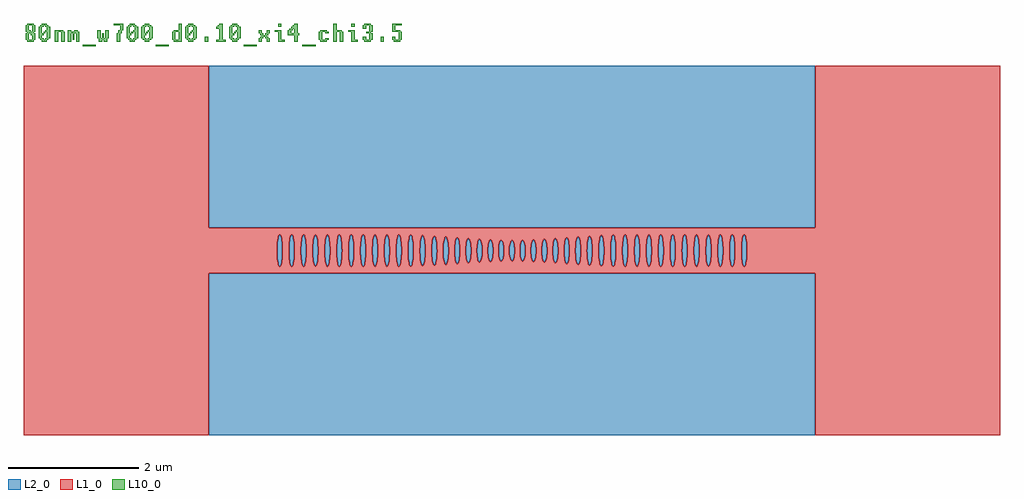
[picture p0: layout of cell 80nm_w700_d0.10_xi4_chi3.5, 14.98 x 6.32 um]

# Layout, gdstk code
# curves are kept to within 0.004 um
import gdstk
lib = gdstk.Library(unit=1e-6, precision=1e-09)
def R(c, l, rs):  # rectangles x0, y0, x1, y1
    for r in rs: c.add(gdstk.rectangle(r[:2], r[2:], *l))
def A(c, l, x, y, w, h, nx, ny, dx, dy):  # array of equal rectangles
    R(c, l, [(x+i*dx, y+j*dy, x+i*dx+w, y+j*dy+h) for i in range(nx) for j in range(ny)])
def P(c, l, *ps):  # polygons
    for p in ps: c.add(gdstk.Polygon(p, *l))
L1_0 = (1, 0)
L2_0 = (2, 0)
L10_0 = (10, 0)

c_80nm_w700_d0_10_xi4_chi3 = lib.new_cell('80nm_w700_d0.10_xi4_chi3.5')
P(c_80nm_w700_d0_10_xi4_chi3, L1_0, [(-4.656,-2.835),(-4.656,-0.35),(-2.795,-0.35),(-2.795,-0.084),(-2.813,-0.212),(-2.826,-0.241),(-2.841,-0.241),(-2.854,-0.212),(-2.865,-0.157),(-2.875,0),(-2.865,0.157),(-2.854,0.212),(-2.841,0.241),(-2.826,0.241),(-2.813,0.212),(-2.795,0.084),(-2.795,0.35),(-4.656,0.35),(-4.656,2.835),(-7.491,2.835),(-7.491,0),(-3.606,0),(-3.591,0.188),(-3.579,0.23),(-3.565,0.245),(-3.551,0.23),(-3.538,0.188),(-3.523,0),(-3.423,0),(-3.408,0.188),(-3.396,0.23),(-3.382,0.245),(-3.361,0.212),(-3.35,0.157),(-3.341,-0.043),(-3.24,-0.043),(-3.231,0.157),(-3.22,0.212),(-3.199,0.245),(-3.178,0.212),(-3.167,0.157),(-3.158,-0.043),(-3.057,-0.043),(-3.055,0.084),(-3.043,0.188),(-3.023,0.241),(-3.016,0.245),(-3.002,0.23),(-2.981,0.122),(-2.976,-0.043),(-2.99,-0.188),(-3.002,-0.23),(-3.016,-0.245),(-3.03,-0.23),(-3.043,-0.188),(-3.057,-0.043),(-3.158,-0.043),(-3.173,-0.188),(-3.185,-0.23),(-3.199,-0.245),(-3.213,-0.23),(-3.225,-0.188),(-3.24,-0.043),(-3.341,-0.043),(-3.355,-0.188),(-3.375,-0.241),(-3.389,-0.241),(-3.402,-0.212),(-3.413,-0.157),(-3.423,0),(-3.523,0),(-3.538,-0.188),(-3.551,-0.23),(-3.565,-0.245),(-3.579,-0.23),(-3.591,-0.188),(-3.606,0),(-7.491,0),(-7.491,-2.835)],
  [(-1.958,0.084),(-1.946,0.188),(-1.933,0.23),(-1.919,0.245),(-1.905,0.23),(-1.893,0.188),(-1.881,0.084),(-1.881,0.35),(-2.795,0.35),(-2.792,0),(-2.692,0),(-2.677,0.188),(-2.665,0.23),(-2.651,0.245),(-2.637,0.23),(-2.624,0.188),(-2.609,0),(-2.509,0),(-2.494,0.188),(-2.482,0.23),(-2.468,0.245),(-2.461,0.241),(-2.447,0.212),(-2.436,0.157),(-2.427,-0.043),(-2.326,-0.043),(-2.317,0.157),(-2.306,0.212),(-2.285,0.245),(-2.264,0.212),(-2.253,0.157),(-2.244,-0.043),(-2.143,-0.043),(-2.134,0.157),(-2.123,0.212),(-2.102,0.245),(-2.088,0.23),(-2.076,0.188),(-2.061,0),(-2.076,-0.188),(-2.088,-0.23),(-2.102,-0.245),(-2.116,-0.23),(-2.129,-0.188),(-2.143,-0.043),(-2.244,-0.043),(-2.259,-0.188),(-2.271,-0.23),(-2.285,-0.245),(-2.299,-0.23),(-2.311,-0.188),(-2.326,-0.043),(-2.427,-0.043),(-2.441,-0.188),(-2.461,-0.241),(-2.475,-0.241),(-2.488,-0.212),(-2.499,-0.157),(-2.509,0),(-2.609,0),(-2.624,-0.188),(-2.637,-0.23),(-2.651,-0.245),(-2.665,-0.23),(-2.677,-0.188),(-2.692,0),(-2.792,0),(-2.795,-0.35),(-1.881,-0.35),(-1.881,-0.084),(-1.893,-0.188),(-1.905,-0.23),(-1.919,-0.245),(-1.933,-0.23),(-1.946,-0.188),(-1.955,-0.123),(-1.961,0)],
  [(-1.881,-0.084),(-1.881,-0.35),(-0.977,-0.35),(-0.977,-0.079),(-0.991,-0.174),(-1.005,-0.208),(-1.021,-0.211),(-1.036,-0.185),(-1.048,-0.132),(-1.056,-0.02),(-1.048,0.132),(-1.029,0.202),(-1.013,0.213),(-0.998,0.194),(-0.985,0.147),(-0.977,0.079),(-0.977,0.35),(-1.881,0.35),(-1.878,0),(-1.778,0),(-1.763,0.188),(-1.751,0.23),(-1.737,0.245),(-1.729,0.241),(-1.716,0.212),(-1.705,0.157),(-1.696,-0.042),(-1.595,-0.042),(-1.586,0.156),(-1.575,0.21),(-1.561,0.239),(-1.547,0.239),(-1.54,0.228),(-1.528,0.186),(-1.515,0.083),(-1.513,-0.021),(-1.414,-0.021),(-1.406,0.138),(-1.389,0.217),(-1.374,0.235),(-1.36,0.224),(-1.341,0.155),(-1.331,0),(-1.234,0),(-1.223,0.152),(-1.211,0.202),(-1.204,0.217),(-1.189,0.225),(-1.174,0.202),(-1.162,0.152),(-1.151,0),(-1.162,-0.152),(-1.174,-0.202),(-1.189,-0.225),(-1.204,-0.217),(-1.211,-0.202),(-1.223,-0.152),(-1.234,0),(-1.331,0),(-1.341,-0.155),(-1.36,-0.224),(-1.374,-0.235),(-1.389,-0.217),(-1.401,-0.17),(-1.414,-0.021),(-1.513,-0.021),(-1.518,-0.121),(-1.528,-0.186),(-1.54,-0.228),(-1.554,-0.242),(-1.568,-0.228),(-1.581,-0.186),(-1.595,-0.042),(-1.696,-0.042),(-1.71,-0.188),(-1.723,-0.23),(-1.737,-0.245),(-1.751,-0.23),(-1.763,-0.188),(-1.778,0),(-1.878,0)],
  [(-0.039,0.051),(-0.023,0.132),(-0.007,0.158),(0.002,0.16),(0.002,0.35),(-0.977,0.35),(-0.974,-0.039),(-0.881,-0.039),(-0.881,0.039),(-0.869,0.142),(-0.856,0.186),(-0.84,0.201),(-0.824,0.186),(-0.811,0.142),(-0.799,0.039),(-0.799,-0.019),(-0.709,-0.019),(-0.699,0.123),(-0.686,0.169),(-0.67,0.188),(-0.653,0.177),(-0.639,0.137),(-0.626,-0.018),(-0.539,-0.018),(-0.529,0.115),(-0.516,0.159),(-0.5,0.177),(-0.484,0.166),(-0.47,0.128),(-0.46,0.07),(-0.457,0),(-0.372,0),(-0.364,0.099),(-0.351,0.146),(-0.335,0.167),(-0.318,0.16),(-0.303,0.125),(-0.293,0.068),(-0.29,-0.018),(-0.206,-0.018),(-0.195,0.112),(-0.18,0.151),(-0.163,0.162),(-0.154,0.156),(-0.138,0.124),(-0.124,0),(-0.132,-0.098),(-0.154,-0.156),(-0.171,-0.16),(-0.188,-0.134),(-0.2,-0.084),(-0.206,-0.018),(-0.29,-0.018),(-0.303,-0.125),(-0.326,-0.167),(-0.343,-0.16),(-0.358,-0.125),(-0.372,0),(-0.457,0),(-0.46,-0.07),(-0.47,-0.128),(-0.484,-0.166),(-0.5,-0.177),(-0.508,-0.172),(-0.523,-0.14),(-0.539,-0.018),(-0.626,-0.018),(-0.639,-0.137),(-0.653,-0.177),(-0.67,-0.188),(-0.686,-0.169),(-0.693,-0.149),(-0.709,-0.019),(-0.799,-0.019),(-0.811,-0.142),(-0.824,-0.186),(-0.84,-0.201),(-0.856,-0.186),(-0.863,-0.167),(-0.881,-0.039),(-0.974,-0.039),(-0.977,-0.35),(0.002,-0.35),(0.002,-0.16),(-0.015,-0.149),(-0.03,-0.11),(-0.041,-0.017)],
  [(0.037,-0.067),(0.027,-0.122),(0.011,-0.154),(0.002,-0.16),(0.002,-0.35),(0.975,-0.35),(0.975,0.35),(0.002,0.35),(0.002,0.16),(0.019,0.141),(0.033,0.097),(0.04,-0.018),(0.124,-0.018),(0.135,0.112),(0.15,0.151),(0.167,0.162),(0.176,0.156),(0.191,0.124),(0.202,0.068),(0.206,0),(0.289,0),(0.297,0.099),(0.31,0.146),(0.326,0.167),(0.343,0.16),(0.358,0.125),(0.368,0.068),(0.371,-0.018),(0.457,-0.018),(0.467,0.115),(0.48,0.159),(0.496,0.177),(0.504,0.175),(0.52,0.15),(0.532,0.101),(0.538,-0.019),(0.627,-0.019),(0.636,0.123),(0.649,0.169),(0.666,0.188),(0.682,0.177),(0.69,0.16),(0.702,0.108),(0.708,-0.039),(0.799,-0.039),(0.799,0.039),(0.811,0.142),(0.824,0.186),(0.84,0.201),(0.848,0.197),(0.863,0.167),(0.874,0.112),(0.881,-0.039),(0.863,-0.167),(0.856,-0.186),(0.84,-0.201),(0.824,-0.186),(0.817,-0.167),(0.799,-0.039),(0.708,-0.039),(0.702,-0.108),(0.69,-0.16),(0.682,-0.177),(0.666,-0.188),(0.657,-0.182),(0.642,-0.149),(0.627,-0.019),(0.538,-0.019),(0.526,-0.128),(0.512,-0.166),(0.496,-0.177),(0.488,-0.172),(0.473,-0.14),(0.457,-0.018),(0.371,-0.018),(0.358,-0.125),(0.335,-0.167),(0.318,-0.16),(0.303,-0.125),(0.289,0),(0.206,0),(0.202,-0.068),(0.191,-0.124),(0.176,-0.156),(0.167,-0.162),(0.15,-0.151),(0.135,-0.112),(0.124,-0.018),(0.04,-0.018)],
  [(1.881,0.084),(1.881,0.35),(0.975,0.35),(0.975,0.06),(0.994,0.185),(1.009,0.211),(1.025,0.208),(1.039,0.174),(1.05,0.115),(1.056,0),(1.151,0),(1.162,0.152),(1.174,0.202),(1.181,0.217),(1.196,0.225),(1.211,0.202),(1.228,0.119),(1.233,-0.021),(1.331,-0.021),(1.339,0.138),(1.356,0.217),(1.371,0.235),(1.385,0.224),(1.404,0.155),(1.414,0),(1.513,0),(1.518,0.121),(1.528,0.186),(1.54,0.228),(1.554,0.242),(1.568,0.228),(1.581,0.186),(1.593,0.083),(1.595,0),(1.695,0),(1.71,0.188),(1.723,0.23),(1.737,0.245),(1.751,0.23),(1.763,0.188),(1.778,0),(1.763,-0.188),(1.751,-0.23),(1.737,-0.245),(1.723,-0.23),(1.71,-0.188),(1.695,0),(1.595,0),(1.593,-0.083),(1.581,-0.186),(1.568,-0.228),(1.554,-0.242),(1.54,-0.228),(1.528,-0.186),(1.518,-0.121),(1.513,0),(1.414,0),(1.404,-0.155),(1.385,-0.224),(1.371,-0.235),(1.356,-0.217),(1.344,-0.17),(1.331,-0.021),(1.233,-0.021),(1.228,-0.119),(1.217,-0.18),(1.204,-0.217),(1.189,-0.225),(1.174,-0.202),(1.162,-0.152),(1.151,0),(1.056,0),(1.05,-0.115),(1.039,-0.174),(1.025,-0.208),(1.009,-0.211),(0.994,-0.185),(0.975,-0.06),(0.975,-0.35),(1.881,-0.35)],
  [(2.793,0.35),(1.881,0.35),(1.881,0.084),(1.899,0.212),(1.912,0.241),(1.927,0.241),(1.94,0.212),(1.951,0.157),(1.961,0),(2.061,0),(2.076,0.188),(2.088,0.23),(2.102,0.245),(2.123,0.212),(2.134,0.157),(2.143,-0.043),(2.244,-0.043),(2.253,0.157),(2.264,0.212),(2.285,0.245),(2.306,0.212),(2.317,0.157),(2.326,-0.043),(2.427,-0.043),(2.436,0.157),(2.447,0.212),(2.468,0.245),(2.482,0.23),(2.494,0.188),(2.509,0),(2.609,0),(2.624,0.188),(2.643,0.241),(2.658,0.241),(2.671,0.212),(2.682,0.157),(2.692,0),(2.677,-0.188),(2.665,-0.23),(2.651,-0.245),(2.637,-0.23),(2.624,-0.188),(2.609,0),(2.509,0),(2.494,-0.188),(2.482,-0.23),(2.468,-0.245),(2.454,-0.23),(2.441,-0.188),(2.427,-0.043),(2.326,-0.043),(2.311,-0.188),(2.299,-0.23),(2.285,-0.245),(2.271,-0.23),(2.259,-0.188),(2.244,-0.043),(2.143,-0.043),(2.129,-0.188),(2.116,-0.23),(2.102,-0.245),(2.088,-0.23),(2.076,-0.188),(2.061,0),(1.961,0),(1.951,-0.157),(1.94,-0.212),(1.927,-0.241),(1.912,-0.241),(1.899,-0.212),(1.881,-0.084),(1.881,-0.35),(2.793,-0.35)],
  [(2.798,0.123),(2.819,0.23),(2.833,0.245),(2.841,0.241),(2.854,0.212),(2.865,0.157),(2.875,0),(2.975,0),(2.99,0.188),(3.002,0.23),(3.016,0.245),(3.037,0.212),(3.048,0.157),(3.057,-0.043),(3.158,-0.043),(3.167,0.157),(3.178,0.212),(3.199,0.245),(3.22,0.212),(3.231,0.157),(3.24,-0.043),(3.341,-0.043),(3.35,0.157),(3.361,0.212),(3.375,0.241),(3.382,0.245),(3.396,0.23),(3.408,0.188),(3.423,0),(3.523,0),(3.538,0.188),(3.551,0.23),(3.565,0.245),(3.579,0.23),(3.591,0.188),(3.606,0),(3.591,-0.188),(3.579,-0.23),(3.565,-0.245),(3.551,-0.23),(3.538,-0.188),(3.523,0),(3.423,0),(3.408,-0.188),(3.396,-0.23),(3.382,-0.245),(3.368,-0.23),(3.355,-0.188),(3.341,-0.043),(3.24,-0.043),(3.225,-0.188),(3.213,-0.23),(3.199,-0.245),(3.185,-0.23),(3.173,-0.188),(3.158,-0.043),(3.057,-0.043),(3.043,-0.188),(3.03,-0.23),(3.016,-0.245),(3.002,-0.23),(2.99,-0.188),(2.975,0),(2.875,0),(2.865,-0.157),(2.854,-0.212),(2.841,-0.241),(2.826,-0.241),(2.807,-0.188),(2.793,-0.043),(2.793,-0.35),(4.656,-0.35),(4.656,-2.835),(7.491,-2.835),(7.491,2.835),(4.656,2.835),(4.656,0.35),(2.793,0.35),(2.793,0.043)])
R(c_80nm_w700_d0_10_xi4_chi3, L2_0, [(-4.656,-2.835,4.656,-0.35), (-4.656,0.35,4.656,2.835)])
P(c_80nm_w700_d0_10_xi4_chi3, L2_0, [(-3.526,0.084),(-3.538,0.188),(-3.557,0.241),(-3.565,0.245),(-3.579,0.23),(-3.596,0.157),(-3.606,0),(-3.6,-0.123),(-3.585,-0.212),(-3.579,-0.23),(-3.565,-0.245),(-3.557,-0.241),(-3.544,-0.212),(-3.533,-0.157),(-3.524,-0.043)],
  [(3.526,-0.084),(3.538,-0.188),(3.557,-0.241),(3.565,-0.245),(3.579,-0.23),(3.596,-0.157),(3.605,-0.043),(3.603,0.084),(3.591,0.188),(3.579,0.23),(3.565,0.245),(3.557,0.241),(3.544,0.212),(3.533,0.157),(3.524,0.043)],
  [(0.293,-0.068),(0.303,-0.125),(0.326,-0.167),(0.335,-0.167),(0.351,-0.146),(0.364,-0.099),(0.372,0),(0.368,0.068),(0.358,0.125),(0.335,0.167),(0.326,0.167),(0.31,0.146),(0.297,0.099),(0.289,0)],
  [(-3.42,-0.084),(-3.408,-0.188),(-3.389,-0.241),(-3.382,-0.245),(-3.368,-0.23),(-3.35,-0.157),(-3.341,-0.043),(-3.346,0.122),(-3.361,0.212),(-3.382,0.245),(-3.396,0.23),(-3.402,0.212),(-3.417,0.123),(-3.423,0)],
  [(-2.872,-0.084),(-2.86,-0.188),(-2.841,-0.241),(-2.833,-0.245),(-2.819,-0.23),(-2.802,-0.157),(-2.793,-0.043),(-2.795,0.084),(-2.807,0.188),(-2.819,0.23),(-2.833,0.245),(-2.841,0.241),(-2.854,0.212),(-2.865,0.157),(-2.874,0.043)],
  [(2.978,-0.084),(2.99,-0.188),(3.009,-0.241),(3.016,-0.245),(3.03,-0.23),(3.048,-0.157),(3.057,-0.043),(3.052,0.122),(3.037,0.212),(3.016,0.245),(3.002,0.23),(2.996,0.212),(2.981,0.123),(2.975,0)],
  [(2.872,0.084),(2.86,0.188),(2.841,0.241),(2.833,0.245),(2.819,0.23),(2.802,0.157),(2.792,0),(2.798,-0.123),(2.813,-0.212),(2.819,-0.23),(2.833,-0.245),(2.841,-0.241),(2.854,-0.212),(2.865,-0.157),(2.874,-0.043)],
  [(2.689,0.084),(2.677,0.188),(2.665,0.23),(2.651,0.245),(2.643,0.241),(2.63,0.212),(2.615,0.123),(2.609,0),(2.615,-0.123),(2.63,-0.212),(2.643,-0.241),(2.651,-0.245),(2.665,-0.23),(2.682,-0.157),(2.691,-0.043)],
  [(-2.689,-0.084),(-2.677,-0.188),(-2.658,-0.241),(-2.643,-0.241),(-2.637,-0.23),(-2.619,-0.157),(-2.609,0),(-2.615,0.122),(-2.63,0.212),(-2.643,0.241),(-2.651,0.245),(-2.665,0.23),(-2.671,0.212),(-2.686,0.123),(-2.692,0)],
  [(-2.506,-0.084),(-2.494,-0.188),(-2.475,-0.241),(-2.468,-0.245),(-2.454,-0.23),(-2.436,-0.157),(-2.427,-0.043),(-2.432,0.122),(-2.447,0.212),(-2.468,0.245),(-2.482,0.23),(-2.488,0.212),(-2.503,0.123),(-2.509,0)],
  [(2.064,-0.084),(2.076,-0.188),(2.095,-0.241),(2.102,-0.245),(2.116,-0.23),(2.134,-0.157),(2.143,-0.043),(2.138,0.122),(2.123,0.212),(2.102,0.245),(2.088,0.23),(2.082,0.212),(2.067,0.123),(2.061,0)],
  [(1.958,0.084),(1.946,0.188),(1.927,0.241),(1.919,0.245),(1.905,0.23),(1.888,0.157),(1.878,0),(1.884,-0.123),(1.899,-0.212),(1.905,-0.23),(1.919,-0.245),(1.927,-0.241),(1.94,-0.212),(1.951,-0.157),(1.96,-0.043)],
  [(1.775,0.084),(1.763,0.188),(1.751,0.23),(1.737,0.245),(1.729,0.241),(1.716,0.212),(1.701,0.123),(1.695,0),(1.701,-0.123),(1.716,-0.212),(1.729,-0.241),(1.737,-0.245),(1.751,-0.23),(1.768,-0.157),(1.777,-0.043)],
  [(1.593,0.083),(1.581,0.186),(1.561,0.239),(1.547,0.239),(1.533,0.21),(1.518,0.121),(1.513,0),(1.518,-0.121),(1.533,-0.21),(1.547,-0.239),(1.554,-0.242),(1.561,-0.239),(1.575,-0.21),(1.586,-0.156),(1.595,-0.042)],
  [(-1.958,-0.084),(-1.946,-0.188),(-1.927,-0.241),(-1.919,-0.245),(-1.905,-0.23),(-1.888,-0.157),(-1.879,-0.043),(-1.881,0.084),(-1.893,0.188),(-1.905,0.23),(-1.919,0.245),(-1.927,0.241),(-1.94,0.212),(-1.951,0.157),(-1.96,0.043)],
  [(1.154,-0.081),(1.168,-0.18),(1.189,-0.225),(1.204,-0.217),(1.211,-0.202),(1.228,-0.119),(1.234,0),(1.228,0.119),(1.211,0.202),(1.196,0.225),(1.181,0.217),(1.174,0.202),(1.157,0.119),(1.151,0)],
  [(-1.775,-0.084),(-1.763,-0.188),(-1.744,-0.241),(-1.729,-0.241),(-1.723,-0.23),(-1.705,-0.157),(-1.695,0),(-1.701,0.122),(-1.716,0.212),(-1.729,0.241),(-1.737,0.245),(-1.751,0.23),(-1.757,0.212),(-1.772,0.123),(-1.778,0)],
  [(-1.231,-0.081),(-1.217,-0.18),(-1.196,-0.225),(-1.181,-0.217),(-1.174,-0.202),(-1.157,-0.119),(-1.151,-0.02),(-1.157,0.119),(-1.174,0.202),(-1.189,0.225),(-1.204,0.217),(-1.211,0.202),(-1.228,0.119),(-1.234,0)],
  [(-0.368,-0.068),(-0.358,-0.125),(-0.335,-0.167),(-0.326,-0.167),(-0.31,-0.146),(-0.297,-0.099),(-0.289,0),(-0.293,0.068),(-0.303,0.125),(-0.326,0.167),(-0.335,0.167),(-0.351,0.146),(-0.364,0.099),(-0.372,0)],
  [(-0.035,-0.082),(-0.015,-0.149),(0.002,-0.16),(0.019,-0.141),(0.033,-0.097),(0.041,0),(0.037,0.067),(0.027,0.122),(0.011,0.154),(0.002,0.16),(-0.015,0.149),(-0.035,0.082),(-0.041,0.017)],
  [(0.202,0.068),(0.184,0.143),(0.167,0.162),(0.15,0.151),(0.13,0.084),(0.124,0.018),(0.13,-0.084),(0.15,-0.151),(0.167,-0.162),(0.184,-0.143),(0.202,-0.068)],
  [(0.462,-0.086),(0.48,-0.159),(0.496,-0.177),(0.504,-0.175),(0.52,-0.15),(0.532,-0.101),(0.539,0),(0.532,0.101),(0.52,0.15),(0.512,0.166),(0.496,0.177),(0.48,0.159),(0.462,0.086),(0.457,0.018)],
  [(-0.125,0.035),(-0.138,0.124),(-0.154,0.156),(-0.163,0.162),(-0.18,0.151),(-0.195,0.112),(-0.206,0.018),(-0.204,-0.052),(-0.188,-0.134),(-0.18,-0.151),(-0.163,-0.162),(-0.146,-0.143),(-0.132,-0.098)],
  [(-0.46,0.07),(-0.476,0.15),(-0.484,0.166),(-0.5,0.177),(-0.516,0.159),(-0.534,0.086),(-0.539,0.018),(-0.534,-0.086),(-0.516,-0.159),(-0.5,-0.177),(-0.492,-0.175),(-0.476,-0.15),(-0.464,-0.101),(-0.457,0)],
  [(0.632,-0.091),(0.649,-0.169),(0.666,-0.188),(0.682,-0.177),(0.69,-0.16),(0.702,-0.108),(0.709,0),(0.702,0.108),(0.69,0.16),(0.682,0.177),(0.666,0.188),(0.649,0.169),(0.632,0.091),(0.627,0.019)],
  [(-0.627,0.038),(-0.639,0.137),(-0.653,0.177),(-0.67,0.188),(-0.678,0.182),(-0.699,0.123),(-0.709,0.019),(-0.704,-0.091),(-0.686,-0.169),(-0.67,-0.188),(-0.653,-0.177),(-0.639,-0.137),(-0.627,-0.038)],
  [(-1.052,-0.098),(-1.036,-0.185),(-1.029,-0.202),(-1.013,-0.213),(-1.005,-0.208),(-0.991,-0.174),(-0.98,-0.115),(-0.974,-0.04),(-0.98,0.115),(-0.991,0.174),(-1.005,0.208),(-1.013,0.213),(-1.029,0.202),(-1.048,0.132),(-1.056,0.02)],
  [(1.053,0.079),(1.045,0.147),(1.025,0.208),(1.017,0.213),(1.001,0.202),(0.982,0.132),(0.974,0.02),(0.978,-0.098),(0.994,-0.185),(1.001,-0.202),(1.017,-0.213),(1.025,-0.208),(1.039,-0.174),(1.05,-0.115),(1.056,-0.04)],
  [(-1.334,0.083),(-1.347,0.184),(-1.367,0.233),(-1.382,0.23),(-1.389,0.217),(-1.406,0.138),(-1.414,0.021),(-1.41,-0.102),(-1.395,-0.197),(-1.382,-0.23),(-1.374,-0.235),(-1.36,-0.224),(-1.341,-0.155),(-1.332,-0.042)],
  [(1.411,0.083),(1.398,0.184),(1.378,0.233),(1.363,0.23),(1.356,0.217),(1.339,0.138),(1.331,0.021),(1.335,-0.102),(1.35,-0.197),(1.363,-0.23),(1.371,-0.235),(1.385,-0.224),(1.404,-0.155),(1.413,-0.042)],
  [(-0.802,0.077),(-0.817,0.167),(-0.824,0.186),(-0.84,0.201),(-0.856,0.186),(-0.874,0.112),(-0.881,0.039),(-0.878,-0.077),(-0.863,-0.167),(-0.856,-0.186),(-0.84,-0.201),(-0.824,-0.186),(-0.806,-0.112),(-0.799,-0.039)],
  [(0.878,0.077),(0.863,0.167),(0.856,0.186),(0.84,0.201),(0.824,0.186),(0.806,0.112),(0.799,0.039),(0.802,-0.077),(0.817,-0.167),(0.824,-0.186),(0.84,-0.201),(0.856,-0.186),(0.874,-0.112),(0.881,-0.039)],
  [(-1.514,0.042),(-1.518,0.121),(-1.54,0.228),(-1.547,0.239),(-1.561,0.239),(-1.575,0.21),(-1.586,0.156),(-1.595,0.042),(-1.59,-0.121),(-1.575,-0.21),(-1.561,-0.239),(-1.554,-0.242),(-1.547,-0.239),(-1.533,-0.21),(-1.518,-0.121)],
  [(-2.064,0.084),(-2.076,0.188),(-2.088,0.23),(-2.102,0.245),(-2.123,0.212),(-2.138,0.123),(-2.143,0.043),(-2.138,-0.123),(-2.123,-0.212),(-2.102,-0.245),(-2.088,-0.23),(-2.071,-0.157),(-2.062,-0.043)],
  [(-2.246,0.084),(-2.259,0.188),(-2.278,0.241),(-2.285,0.245),(-2.299,0.23),(-2.317,0.157),(-2.326,0.043),(-2.321,-0.123),(-2.306,-0.212),(-2.285,-0.245),(-2.264,-0.212),(-2.253,-0.157),(-2.244,-0.043)],
  [(2.249,-0.123),(2.264,-0.212),(2.285,-0.245),(2.306,-0.212),(2.321,-0.122),(2.326,-0.043),(2.321,0.122),(2.306,0.212),(2.285,0.245),(2.264,0.212),(2.249,0.123),(2.244,0.043)],
  [(2.506,0.084),(2.494,0.188),(2.482,0.23),(2.468,0.245),(2.447,0.212),(2.432,0.123),(2.427,0.043),(2.432,-0.123),(2.447,-0.212),(2.468,-0.245),(2.482,-0.23),(2.499,-0.157),(2.508,-0.043)],
  [(3.163,-0.123),(3.178,-0.212),(3.199,-0.245),(3.22,-0.212),(3.235,-0.122),(3.24,-0.043),(3.235,0.122),(3.22,0.212),(3.199,0.245),(3.178,0.212),(3.163,0.123),(3.158,0.043)],
  [(-2.978,0.084),(-2.99,0.188),(-3.002,0.23),(-3.016,0.245),(-3.037,0.212),(-3.052,0.123),(-3.057,0.043),(-3.052,-0.123),(-3.037,-0.212),(-3.016,-0.245),(-3.002,-0.23),(-2.985,-0.157),(-2.976,-0.043)],
  [(-3.16,0.084),(-3.173,0.188),(-3.192,0.241),(-3.199,0.245),(-3.213,0.23),(-3.231,0.157),(-3.24,0.043),(-3.235,-0.123),(-3.22,-0.212),(-3.199,-0.245),(-3.178,-0.212),(-3.167,-0.157),(-3.158,-0.043)],
  [(3.42,0.084),(3.408,0.188),(3.396,0.23),(3.382,0.245),(3.361,0.212),(3.346,0.123),(3.341,0.043),(3.346,-0.123),(3.361,-0.212),(3.382,-0.245),(3.396,-0.23),(3.413,-0.157),(3.422,-0.043)])
A(c_80nm_w700_d0_10_xi4_chi3, L10_0, -5.616, 3.335, 0.025, 0.025, 3, 1, 0.675, 0)
R(c_80nm_w700_d0_10_xi4_chi3, L10_0, [(-6.591,3.135,-6.391,3.16), (-5.466,3.135,-5.266,3.16), (-4.116,3.135,-3.916,3.16), (-3.216,3.135,-3.016,3.16), (-4.716,3.21,-4.666,3.285), (-2.016,3.21,-1.966,3.285), (-7.191,3.335,-7.166,3.36), (-5.841,3.335,-5.816,3.36), (-3.591,3.435,-3.541,3.485), (-2.466,3.435,-2.416,3.485)])
P(c_80nm_w700_d0_10_xi4_chi3, L10_0, [(-7.316,3.335),(-7.341,3.335),(-7.341,3.36),(-7.316,3.36),(-7.316,3.46),(-7.341,3.46),(-7.341,3.485),(-7.441,3.485),(-7.441,3.46),(-7.466,3.46),(-7.466,3.385),(-7.416,3.385),(-7.416,3.46),(-7.366,3.46),(-7.366,3.36),(-7.391,3.36),(-7.391,3.385),(-7.416,3.385),(-7.466,3.385),(-7.466,3.36),(-7.441,3.36),(-7.441,3.335),(-7.466,3.335),(-7.466,3.235),(-7.416,3.235),(-7.416,3.335),(-7.391,3.335),(-7.391,3.31),(-7.366,3.31),(-7.366,3.235),(-7.416,3.235),(-7.466,3.235),(-7.441,3.235),(-7.441,3.21),(-7.341,3.21),(-7.341,3.235),(-7.316,3.235)],
  [(-7.116,3.26),(-7.091,3.26),(-7.091,3.435),(-7.116,3.435),(-7.116,3.46),(-7.141,3.46),(-7.141,3.485),(-7.216,3.485),(-7.216,3.46),(-7.241,3.46),(-7.241,3.435),(-7.266,3.435),(-7.266,3.26),(-7.216,3.26),(-7.216,3.31),(-7.191,3.31),(-7.191,3.335),(-7.216,3.335),(-7.216,3.435),(-7.191,3.435),(-7.191,3.46),(-7.166,3.46),(-7.166,3.435),(-7.141,3.435),(-7.141,3.385),(-7.166,3.385),(-7.166,3.36),(-7.141,3.36),(-7.141,3.26),(-7.166,3.26),(-7.166,3.235),(-7.191,3.235),(-7.191,3.26),(-7.216,3.26),(-7.266,3.26),(-7.241,3.26),(-7.241,3.235),(-7.216,3.235),(-7.216,3.21),(-7.141,3.21),(-7.141,3.235),(-7.116,3.235)],
  [(-6.966,3.21),(-6.966,3.36),(-6.916,3.36),(-6.916,3.21),(-6.866,3.21),(-6.866,3.36),(-6.891,3.36),(-6.891,3.385),(-7.016,3.385),(-7.016,3.21)],
  [(-6.766,3.21),(-6.766,3.335),(-6.741,3.335),(-6.741,3.235),(-6.716,3.235),(-6.716,3.335),(-6.691,3.335),(-6.691,3.21),(-6.641,3.21),(-6.641,3.36),(-6.666,3.36),(-6.666,3.385),(-6.716,3.385),(-6.716,3.36),(-6.766,3.36),(-6.766,3.385),(-6.816,3.385),(-6.816,3.21)],
  [(-6.341,3.26),(-6.341,3.21),(-6.291,3.21),(-6.291,3.235),(-6.266,3.235),(-6.266,3.21),(-6.216,3.21),(-6.216,3.26),(-6.191,3.26),(-6.191,3.385),(-6.241,3.385),(-6.241,3.26),(-6.266,3.26),(-6.266,3.335),(-6.291,3.335),(-6.291,3.26),(-6.316,3.26),(-6.316,3.385),(-6.366,3.385),(-6.366,3.26)],
  [(-6.016,3.385),(-6.041,3.385),(-6.041,3.335),(-6.066,3.335),(-6.066,3.21),(-6.016,3.21),(-6.016,3.335),(-5.991,3.335),(-5.991,3.385),(-5.966,3.385),(-5.966,3.485),(-6.116,3.485),(-6.116,3.46),(-6.016,3.46)],
  [(-5.766,3.26),(-5.741,3.26),(-5.741,3.435),(-5.766,3.435),(-5.766,3.46),(-5.791,3.46),(-5.791,3.485),(-5.866,3.485),(-5.866,3.46),(-5.891,3.46),(-5.891,3.435),(-5.916,3.435),(-5.916,3.26),(-5.866,3.26),(-5.866,3.31),(-5.841,3.31),(-5.841,3.335),(-5.866,3.335),(-5.866,3.435),(-5.841,3.435),(-5.841,3.46),(-5.816,3.46),(-5.816,3.435),(-5.791,3.435),(-5.791,3.385),(-5.816,3.385),(-5.816,3.36),(-5.791,3.36),(-5.791,3.26),(-5.816,3.26),(-5.816,3.235),(-5.841,3.235),(-5.841,3.26),(-5.866,3.26),(-5.916,3.26),(-5.891,3.26),(-5.891,3.235),(-5.866,3.235),(-5.866,3.21),(-5.791,3.21),(-5.791,3.235),(-5.766,3.235)],
  [(-5.541,3.26),(-5.516,3.26),(-5.516,3.435),(-5.541,3.435),(-5.541,3.46),(-5.566,3.46),(-5.566,3.485),(-5.641,3.485),(-5.641,3.46),(-5.666,3.46),(-5.666,3.435),(-5.691,3.435),(-5.691,3.26),(-5.641,3.26),(-5.641,3.31),(-5.616,3.31),(-5.616,3.335),(-5.641,3.335),(-5.641,3.435),(-5.616,3.435),(-5.616,3.46),(-5.591,3.46),(-5.591,3.435),(-5.566,3.435),(-5.566,3.385),(-5.591,3.385),(-5.591,3.36),(-5.566,3.36),(-5.566,3.26),(-5.591,3.26),(-5.591,3.235),(-5.616,3.235),(-5.616,3.26),(-5.641,3.26),(-5.691,3.26),(-5.666,3.26),(-5.666,3.235),(-5.641,3.235),(-5.641,3.21),(-5.566,3.21),(-5.566,3.235),(-5.541,3.235)],
  [(-5.116,3.485),(-5.116,3.385),(-5.191,3.385),(-5.191,3.36),(-5.216,3.36),(-5.216,3.235),(-5.166,3.235),(-5.166,3.36),(-5.116,3.36),(-5.116,3.235),(-5.166,3.235),(-5.216,3.235),(-5.191,3.235),(-5.191,3.21),(-5.066,3.21),(-5.066,3.485)],
  [(-4.866,3.26),(-4.841,3.26),(-4.841,3.435),(-4.866,3.435),(-4.866,3.46),(-4.891,3.46),(-4.891,3.485),(-4.966,3.485),(-4.966,3.46),(-4.991,3.46),(-4.991,3.435),(-5.016,3.435),(-5.016,3.26),(-4.966,3.26),(-4.966,3.31),(-4.941,3.31),(-4.941,3.335),(-4.966,3.335),(-4.966,3.435),(-4.941,3.435),(-4.941,3.46),(-4.916,3.46),(-4.916,3.435),(-4.891,3.435),(-4.891,3.385),(-4.916,3.385),(-4.916,3.36),(-4.891,3.36),(-4.891,3.26),(-4.916,3.26),(-4.916,3.235),(-4.941,3.235),(-4.941,3.26),(-4.966,3.26),(-5.016,3.26),(-4.991,3.26),(-4.991,3.235),(-4.966,3.235),(-4.966,3.21),(-4.891,3.21),(-4.891,3.235),(-4.866,3.235)],
  [(-4.516,3.435),(-4.541,3.435),(-4.541,3.41),(-4.491,3.41),(-4.491,3.235),(-4.541,3.235),(-4.541,3.21),(-4.391,3.21),(-4.391,3.235),(-4.441,3.235),(-4.441,3.485),(-4.491,3.485),(-4.491,3.46),(-4.516,3.46)],
  [(-4.191,3.26),(-4.166,3.26),(-4.166,3.435),(-4.191,3.435),(-4.191,3.46),(-4.216,3.46),(-4.216,3.485),(-4.291,3.485),(-4.291,3.46),(-4.316,3.46),(-4.316,3.435),(-4.341,3.435),(-4.341,3.26),(-4.291,3.26),(-4.291,3.31),(-4.266,3.31),(-4.266,3.335),(-4.291,3.335),(-4.291,3.435),(-4.266,3.435),(-4.266,3.46),(-4.241,3.46),(-4.241,3.435),(-4.216,3.435),(-4.216,3.385),(-4.241,3.385),(-4.241,3.36),(-4.216,3.36),(-4.216,3.26),(-4.241,3.26),(-4.241,3.235),(-4.266,3.235),(-4.266,3.26),(-4.291,3.26),(-4.341,3.26),(-4.316,3.26),(-4.316,3.235),(-4.291,3.235),(-4.291,3.21),(-4.216,3.21),(-4.216,3.235),(-4.191,3.235)],
  [(-3.866,3.335),(-3.866,3.31),(-3.841,3.31),(-3.841,3.285),(-3.866,3.285),(-3.866,3.26),(-3.891,3.26),(-3.891,3.21),(-3.841,3.21),(-3.841,3.26),(-3.816,3.26),(-3.816,3.285),(-3.791,3.285),(-3.791,3.26),(-3.766,3.26),(-3.766,3.21),(-3.716,3.21),(-3.716,3.26),(-3.741,3.26),(-3.741,3.285),(-3.766,3.285),(-3.766,3.31),(-3.741,3.31),(-3.741,3.335),(-3.716,3.335),(-3.716,3.385),(-3.766,3.385),(-3.766,3.335),(-3.791,3.335),(-3.791,3.31),(-3.816,3.31),(-3.816,3.335),(-3.841,3.335),(-3.841,3.385),(-3.891,3.385),(-3.891,3.335)],
  [(-3.591,3.21),(-3.491,3.21),(-3.491,3.235),(-3.541,3.235),(-3.541,3.385),(-3.641,3.385),(-3.641,3.36),(-3.591,3.36)],
  [(-3.291,3.21),(-3.291,3.31),(-3.266,3.31),(-3.266,3.335),(-3.291,3.335),(-3.291,3.485),(-3.341,3.485),(-3.341,3.46),(-3.366,3.46),(-3.366,3.435),(-3.391,3.435),(-3.391,3.41),(-3.416,3.41),(-3.416,3.385),(-3.441,3.385),(-3.441,3.335),(-3.391,3.335),(-3.391,3.385),(-3.366,3.385),(-3.366,3.41),(-3.341,3.41),(-3.341,3.335),(-3.391,3.335),(-3.441,3.335),(-3.441,3.31),(-3.341,3.31),(-3.341,3.21)],
  [(-2.966,3.235),(-2.941,3.235),(-2.941,3.21),(-2.841,3.21),(-2.841,3.235),(-2.816,3.235),(-2.816,3.26),(-2.866,3.26),(-2.866,3.235),(-2.916,3.235),(-2.916,3.36),(-2.866,3.36),(-2.866,3.335),(-2.816,3.335),(-2.816,3.36),(-2.841,3.36),(-2.841,3.385),(-2.941,3.385),(-2.941,3.36),(-2.966,3.36)],
  [(-2.691,3.21),(-2.691,3.36),(-2.641,3.36),(-2.641,3.21),(-2.591,3.21),(-2.591,3.36),(-2.616,3.36),(-2.616,3.385),(-2.691,3.385),(-2.691,3.485),(-2.741,3.485),(-2.741,3.21)],
  [(-2.466,3.21),(-2.366,3.21),(-2.366,3.235),(-2.416,3.235),(-2.416,3.385),(-2.516,3.385),(-2.516,3.36),(-2.466,3.36)],
  [(-2.266,3.235),(-2.266,3.21),(-2.166,3.21),(-2.166,3.235),(-2.141,3.235),(-2.141,3.335),(-2.166,3.335),(-2.166,3.36),(-2.141,3.36),(-2.141,3.46),(-2.166,3.46),(-2.166,3.485),(-2.266,3.485),(-2.266,3.46),(-2.291,3.46),(-2.291,3.41),(-2.241,3.41),(-2.241,3.46),(-2.191,3.46),(-2.191,3.36),(-2.241,3.36),(-2.241,3.335),(-2.191,3.335),(-2.191,3.235),(-2.241,3.235),(-2.241,3.285),(-2.291,3.285),(-2.291,3.235)],
  [(-1.816,3.235),(-1.816,3.21),(-1.716,3.21),(-1.716,3.235),(-1.691,3.235),(-1.691,3.36),(-1.716,3.36),(-1.716,3.385),(-1.791,3.385),(-1.791,3.46),(-1.691,3.46),(-1.691,3.485),(-1.841,3.485),(-1.841,3.36),(-1.741,3.36),(-1.741,3.235),(-1.791,3.235),(-1.791,3.285),(-1.841,3.285),(-1.841,3.235)])

lib.write_gds('80nm_w700_d0.10_xi4_chi3.5.gds')
